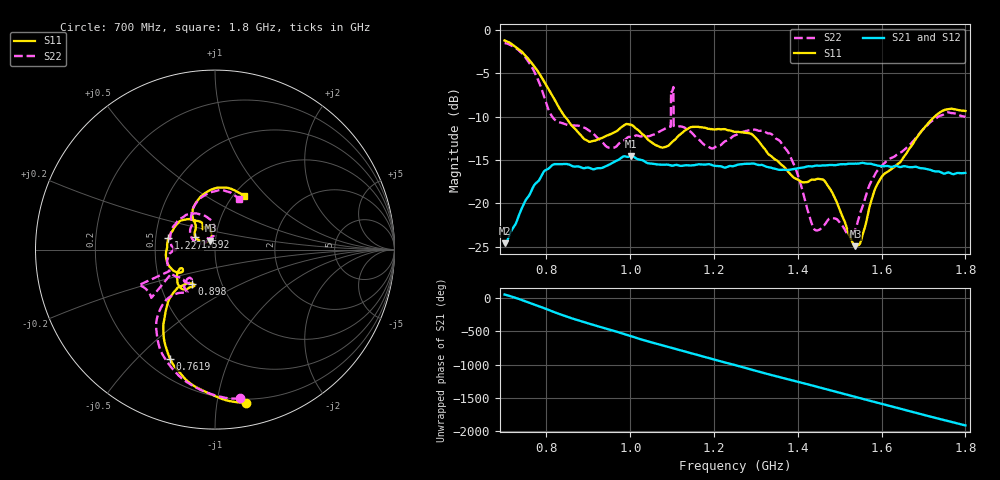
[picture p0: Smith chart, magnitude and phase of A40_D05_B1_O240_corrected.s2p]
! Created with skrf 1.9.0 (http://scikit-rf.org).
# Hz S RI R 50.0
!freq ReS11 ImS11 ReS21 ImS21 ReS12 ImS12 ReS22 ImS22
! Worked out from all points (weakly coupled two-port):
!   1601 points, 700 MHz to 1.8 GHz, reference 50 ohm
!   highest |S21| = -14.55 dB at 1.002 GHz (marker M1); lowest = -24.6 dB at 700.7 MHz (marker M2)
!   lowest |S11| = -25.0 dB at 1.537 GHz (marker M3), VSWR 1.12, Z = 47.3 + j4.78 ohm
!   |S11| at or under -10 dB: 844 MHz to 1.727 GHz (882.5 MHz wide, 68.7 % of centre)
!   |S22| runs from -23.6 to -1.5 dB; largest |S21 - S12| = 0.0035
!   S11 on the Smith chart (normalised r, x): 700 MHz: 0.17, -1.21; 761.9 MHz: 0.29, -0.63; 898 MHz: 0.72, -0.29; 1.227 GHz: 0.58, +0.08; 1.592 GHz: 0.79, +0.12; 1.8 GHz: 1.12, +0.76
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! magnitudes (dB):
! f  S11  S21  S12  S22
! 700 MHz  -1.2  -24.6  -24.4  -1.5
! 700.7 MHz  -1.2  -24.6  -24.3  -1.5
! 761.9 MHz  -3.7  -18.8  -18.7  -4.0
! 816.2 MHz  -7.8  -15.5  -15.6  -10.2
! 883.6 MHz  -12.2  -15.9  -15.8  -11.2
! 898 MHz  -12.8  -15.9  -15.9  -11.5
! 950.2 MHz  -12.1  -15.5  -15.5  -13.6
! 1.002 GHz  -10.9  -14.6  -14.6  -12.4
! 1.067 GHz  -13.4  -15.5  -15.5  -11.8
! 1.103 GHz  -12.8  -15.7  -15.6  -6.6
! 1.109 GHz  -12.5  -15.6  -15.6  -11.1
! 1.227 GHz  -11.5  -15.9  -15.8  -12.8
! 1.25 GHz  -11.8  -15.7  -15.6  -12.2
! 1.358 GHz  -15.4  -16.1  -16.1  -12.9
! 1.394 GHz  -17.1  -16.0  -16.0  -16.0
! 1.434 GHz  -17.3  -15.7  -15.7  -22.4
! 1.474 GHz  -18.1  -15.6  -15.6  -21.8
! 1.537 GHz  -25.0  -15.4  -15.4  -23.0
! 1.592 GHz  -17.6  -15.7  -15.6  -16.1
! 1.617 GHz  -16.3  -15.7  -15.7  -14.9
! 1.733 GHz  -9.7  -16.3  -16.3  -10.1
! 1.8 GHz  -9.3  -16.5  -16.5  -10.0
